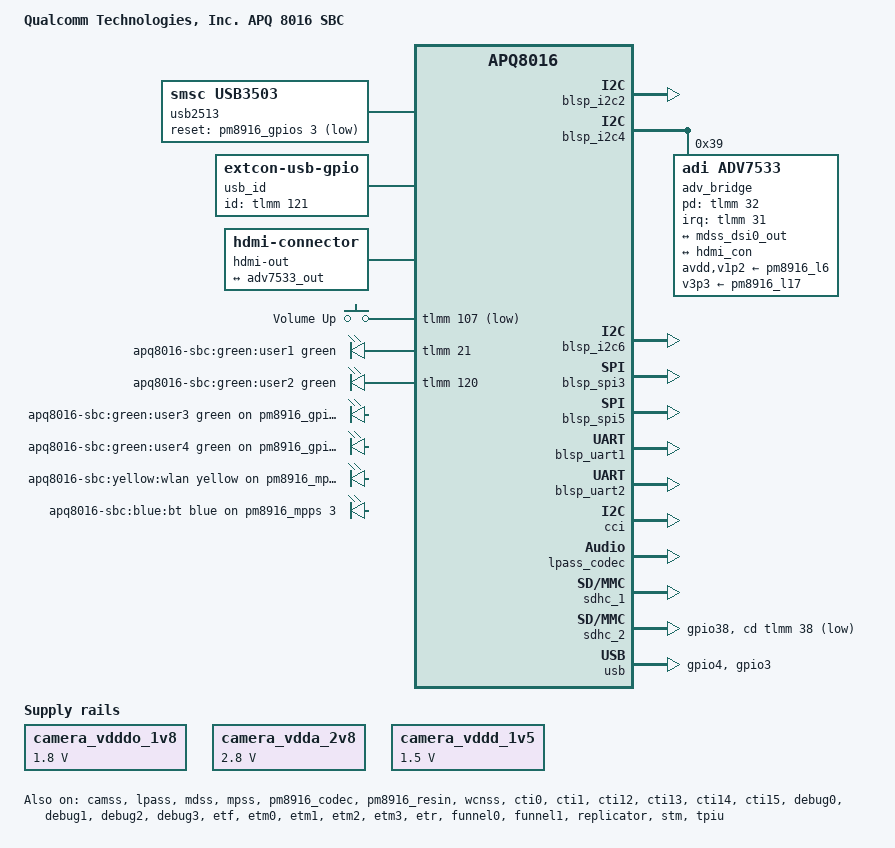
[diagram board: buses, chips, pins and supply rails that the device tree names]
// SPDX-License-Identifier: GPL-2.0-only
/*
 * Copyright (c) 2015, The Linux Foundation. All rights reserved.
 */

/dts-v1/;

#include "msm8916-pm8916.dtsi"
#include <dt-bindings/gpio/gpio.h>
#include <dt-bindings/input/input.h>
#include <dt-bindings/leds/common.h>
#include <dt-bindings/pinctrl/qcom,pmic-gpio.h>
#include <dt-bindings/pinctrl/qcom,pmic-mpp.h>
#include <dt-bindings/sound/apq8016-lpass.h>

/ {
	model = "Qualcomm Technologies, Inc. APQ 8016 SBC";
	compatible = "qcom,apq8016-sbc", "qcom,apq8016";

	aliases {
		mmc0 = &sdhc_1; /* eMMC */
		mmc1 = &sdhc_2; /* SD card */
		serial0 = &blsp_uart2;
		serial1 = &blsp_uart1;
		usid0 = &pm8916_0;
		i2c0 = &blsp_i2c2;
		i2c1 = &blsp_i2c6;
		i2c3 = &blsp_i2c4;
		spi0 = &blsp_spi5;
		spi1 = &blsp_spi3;
	};

	chosen {
		stdout-path = "serial0";
	};

	camera_vdddo_1v8: camera-vdddo-1v8 {
		compatible = "regulator-fixed";
		regulator-name = "camera_vdddo";
		regulator-min-microvolt = <1800000>;
		regulator-max-microvolt = <1800000>;
		regulator-always-on;
	};

	camera_vdda_2v8: camera-vdda-2v8 {
		compatible = "regulator-fixed";
		regulator-name = "camera_vdda";
		regulator-min-microvolt = <2800000>;
		regulator-max-microvolt = <2800000>;
		regulator-always-on;
	};

	camera_vddd_1v5: camera-vddd-1v5 {
		compatible = "regulator-fixed";
		regulator-name = "camera_vddd";
		regulator-min-microvolt = <1500000>;
		regulator-max-microvolt = <1500000>;
		regulator-always-on;
	};

	reserved-memory {
		ramoops@bff00000 {
			compatible = "ramoops";
			reg = <0x0 0xbff00000 0x0 0x100000>;

			record-size = <0x20000>;
			console-size = <0x20000>;
			ftrace-size = <0x20000>;
		};
	};

	usb2513 {
		compatible = "smsc,usb3503";
		reset-gpios = <&pm8916_gpios 3 GPIO_ACTIVE_LOW>;
		initial-mode = <1>;
	};

	usb_id: usb-id {
		compatible = "linux,extcon-usb-gpio";
		id-gpio = <&tlmm 121 GPIO_ACTIVE_HIGH>;
		pinctrl-names = "default";
		pinctrl-0 = <&usb_id_default>;
	};

	hdmi-out {
		compatible = "hdmi-connector";
		type = "a";

		port {
			hdmi_con: endpoint {
				remote-endpoint = <&adv7533_out>;
			};
		};
	};

	gpio-keys {
		compatible = "gpio-keys";
		autorepeat;

		pinctrl-names = "default";
		pinctrl-0 = <&msm_key_volp_n_default>;

		button {
			label = "Volume Up";
			linux,code = <KEY_VOLUMEUP>;
			gpios = <&tlmm 107 GPIO_ACTIVE_LOW>;
		};
	};

	leds {
		pinctrl-names = "default";
		pinctrl-0 = <&tlmm_leds>,
			    <&pm8916_gpios_leds>,
			    <&pm8916_mpps_leds>;

		compatible = "gpio-leds";

		led@1 {
			label = "apq8016-sbc:green:user1";
			function = LED_FUNCTION_HEARTBEAT;
			color = <LED_COLOR_ID_GREEN>;
			gpios = <&tlmm 21 GPIO_ACTIVE_HIGH>;
			linux,default-trigger = "heartbeat";
			default-state = "off";
		};

		led@2 {
			label = "apq8016-sbc:green:user2";
			function = LED_FUNCTION_DISK_ACTIVITY;
			color = <LED_COLOR_ID_GREEN>;
			gpios = <&tlmm 120 GPIO_ACTIVE_HIGH>;
			linux,default-trigger = "mmc0";
			default-state = "off";
		};

		led@3 {
			label = "apq8016-sbc:green:user3";
			function = LED_FUNCTION_DISK_ACTIVITY;
			color = <LED_COLOR_ID_GREEN>;
			gpios = <&pm8916_gpios 1 GPIO_ACTIVE_HIGH>;
			linux,default-trigger = "mmc1";
			default-state = "off";
		};

		led@4 {
			label = "apq8016-sbc:green:user4";
			color = <LED_COLOR_ID_GREEN>;
			gpios = <&pm8916_gpios 2 GPIO_ACTIVE_HIGH>;
			linux,default-trigger = "none";
			panic-indicator;
			default-state = "off";
		};

		led@5 {
			label = "apq8016-sbc:yellow:wlan";
			function = LED_FUNCTION_WLAN;
			color = <LED_COLOR_ID_YELLOW>;
			gpios = <&pm8916_mpps 2 GPIO_ACTIVE_HIGH>;
			linux,default-trigger = "phy0tx";
			default-state = "off";
		};

		led@6 {
			label = "apq8016-sbc:blue:bt";
			function = LED_FUNCTION_BLUETOOTH;
			color = <LED_COLOR_ID_BLUE>;
			gpios = <&pm8916_mpps 3 GPIO_ACTIVE_HIGH>;
			linux,default-trigger = "bluetooth-power";
			default-state = "off";
		};
	};
};

&blsp_i2c2 {
	/* On Low speed expansion: LS-I2C0 */
	status = "okay";
};

&blsp_i2c4 {
	/* On High speed expansion: HS-I2C2 */
	status = "okay";

	adv_bridge: bridge@39 {
		status = "okay";

		compatible = "adi,adv7533";
		reg = <0x39>;

		interrupt-parent = <&tlmm>;
		interrupts = <31 IRQ_TYPE_EDGE_FALLING>;

		adi,dsi-lanes = <4>;
		clocks = <&rpmcc RPM_SMD_BB_CLK2>;
		clock-names = "cec";

		pd-gpios = <&tlmm 32 GPIO_ACTIVE_HIGH>;

		avdd-supply = <&pm8916_l6>;
		v1p2-supply = <&pm8916_l6>;
		v3p3-supply = <&pm8916_l17>;

		pinctrl-names = "default","sleep";
		pinctrl-0 = <&adv7533_int_active &adv7533_switch_active>;
		pinctrl-1 = <&adv7533_int_suspend &adv7533_switch_suspend>;
		#sound-dai-cells = <1>;

		ports {
			#address-cells = <1>;
			#size-cells = <0>;

			port@0 {
				reg = <0>;
				adv7533_in: endpoint {
					remote-endpoint = <&mdss_dsi0_out>;
				};
			};

			port@1 {
				reg = <1>;
				adv7533_out: endpoint {
					remote-endpoint = <&hdmi_con>;
				};
			};
		};
	};
};

&blsp_i2c6 {
	/* On Low speed expansion: LS-I2C1 */
	status = "okay";
};

&blsp_spi3 {
	/* On High speed expansion: HS-SPI1 */
	status = "okay";
};

&blsp_spi5 {
	/* On Low speed expansion: LS-SPI0 */
	status = "okay";
};

&blsp_uart1 {
	status = "okay";
	label = "LS-UART0";
};

&blsp_uart2 {
	status = "okay";
	label = "LS-UART1";
};

&camss {
	status = "okay";
	ports {
		port@0 {
			reg = <0>;
			csiphy0_ep: endpoint {
				data-lanes = <0 2>;
				remote-endpoint = <&ov5640_ep>;
				status = "okay";
			};
		};
	};
};

&cci {
	status = "okay";
};

&cci_i2c0 {
	camera_rear@3b {
		compatible = "ovti,ov5640";
		reg = <0x3b>;

		enable-gpios = <&tlmm 34 GPIO_ACTIVE_HIGH>;
		reset-gpios = <&tlmm 35 GPIO_ACTIVE_LOW>;
		pinctrl-names = "default";
		pinctrl-0 = <&camera_rear_default>;

		clocks = <&gcc GCC_CAMSS_MCLK0_CLK>;
		clock-names = "xclk";
		clock-frequency = <23880000>;

		vdddo-supply = <&camera_vdddo_1v8>;
		vdda-supply = <&camera_vdda_2v8>;
		vddd-supply = <&camera_vddd_1v5>;

		/* No camera mezzanine by default */
		status = "disabled";

		port {
			ov5640_ep: endpoint {
				data-lanes = <0 2>;
				remote-endpoint = <&csiphy0_ep>;
			};
		};
	};
};

&lpass {
	status = "okay";
};

&lpass_codec {
	status = "okay";
};

&mdss {
	status = "okay";
};

&mdss_dsi0_out {
	data-lanes = <0 1 2 3>;
	remote-endpoint = <&adv7533_in>;
};

&mpss {
	status = "okay";

	firmware-name = "qcom/apq8016/mba.mbn", "qcom/apq8016/modem.mbn";
};

&pm8916_codec {
	status = "okay";
	clocks = <&gcc GCC_CODEC_DIGCODEC_CLK>;
	clock-names = "mclk";
	qcom,mbhc-vthreshold-low = <75 150 237 450 500>;
	qcom,mbhc-vthreshold-high = <75 150 237 450 500>;
};

&pm8916_resin {
	status = "okay";
	linux,code = <KEY_VOLUMEDOWN>;
};

&pm8916_rpm_regulators {
	/*
	 * The 96Boards specification expects a 1.8V power rail on the low-speed
	 * expansion connector that is able to provide at least 0.18W / 100 mA.
	 * L15/L16 are connected in parallel to provide 55 mA each. A minimum load
	 * must be specified to ensure the regulators are not put in LPM where they
	 * would only provide 5 mA.
	 */
	pm8916_l15: l15 {
		regulator-min-microvolt = <1800000>;
		regulator-max-microvolt = <1800000>;
		regulator-system-load = <50000>;
		regulator-allow-set-load;
		regulator-always-on;
	};
	pm8916_l16: l16 {
		regulator-min-microvolt = <1800000>;
		regulator-max-microvolt = <1800000>;
		regulator-system-load = <50000>;
		regulator-allow-set-load;
		regulator-always-on;
	};

	pm8916_l17: l17 {
		regulator-min-microvolt = <3300000>;
		regulator-max-microvolt = <3300000>;
	};
};

&sdhc_1 {
	status = "okay";
};

&sdhc_2 {
	status = "okay";

	pinctrl-names = "default", "sleep";
	pinctrl-0 = <&sdc2_default &sdc2_cd_default>;
	pinctrl-1 = <&sdc2_sleep &sdc2_cd_default>;

	cd-gpios = <&tlmm 38 GPIO_ACTIVE_LOW>;
};

&sound {
	status = "okay";

	pinctrl-0 = <&cdc_pdm_default &sec_mi2s_default>;
	pinctrl-1 = <&cdc_pdm_sleep &sec_mi2s_sleep>;
	pinctrl-names = "default", "sleep";
	model = "DB410c";
	audio-routing =
		"AMIC2", "MIC BIAS Internal2",
		"AMIC3", "MIC BIAS External1";

	quaternary-dai-link {
		link-name = "ADV7533";
		cpu {
			sound-dai = <&lpass MI2S_QUATERNARY>;
		};
		codec {
			sound-dai = <&adv_bridge 0>;
		};
	};

	primary-dai-link {
		link-name = "WCD";
		cpu {
			sound-dai = <&lpass MI2S_PRIMARY>;
		};
		codec {
			sound-dai = <&lpass_codec 0>, <&pm8916_codec 0>;
		};
	};

	tertiary-dai-link {
		link-name = "WCD-Capture";
		cpu {
			sound-dai = <&lpass MI2S_TERTIARY>;
		};
		codec {
			sound-dai = <&lpass_codec 1>, <&pm8916_codec 1>;
		};
	};
};

&usb {
	status = "okay";
	extcon = <&usb_id>, <&usb_id>;

	pinctrl-names = "default", "device";
	pinctrl-0 = <&usb_sw_sel_pm &usb_hub_reset_pm>;
	pinctrl-1 = <&usb_sw_sel_pm_device &usb_hub_reset_pm_device>;
};

&usb_hs_phy {
	extcon = <&usb_id>;
};

&wcnss {
	status = "okay";
	firmware-name = "qcom/apq8016/wcnss.mbn";
};

&wcnss_ctrl {
	firmware-name = "qcom/apq8016/WCNSS_qcom_wlan_nv_sbc.bin";
};

&wcnss_iris {
	compatible = "qcom,wcn3620";
};

/* Enable CoreSight */
&cti0 { status = "okay"; };
&cti1 { status = "okay"; };
&cti12 { status = "okay"; };
&cti13 { status = "okay"; };
&cti14 { status = "okay"; };
&cti15 { status = "okay"; };
&debug0 { status = "okay"; };
&debug1 { status = "okay"; };
&debug2 { status = "okay"; };
&debug3 { status = "okay"; };
&etf { status = "okay"; };
&etm0 { status = "okay"; };
&etm1 { status = "okay"; };
&etm2 { status = "okay"; };
&etm3 { status = "okay"; };
&etr { status = "okay"; };
&funnel0 { status = "okay"; };
&funnel1 { status = "okay"; };
&replicator { status = "okay"; };
&stm { status = "okay"; };
&tpiu { status = "okay"; };

/*
 * 2mA drive strength is not enough when connecting multiple
 * I2C devices with different pull up resistors.
 */
&blsp_i2c2_default {
	drive-strength = <16>;
};

&blsp_i2c4_default {
	drive-strength = <16>;
};

&blsp_i2c6_default {
	drive-strength = <16>;
};

/*
 * GPIO name legend: proper name = the GPIO line is used as GPIO
 *         NC = not connected (pin out but not routed from the chip to
 *              anything the board)
 *         "[PER]" = pin is muxed for [peripheral] (not GPIO)
 *         LSEC = Low Speed External Connector
 *         HSEC = High Speed External Connector
 *
 * Line names are taken from the schematic "DragonBoard410c"
 * dated monday, august 31, 2015. Page 5 in particular.
 *
 * For the lines routed to the external connectors the
 * lines are named after the 96Boards CE Specification 1.0,
 * Appendix "Expansion Connector Signal Description".
 *
 * When the 96Board naming of a line and the schematic name of
 * the same line are in conflict, the 96Board specification
 * takes precedence, which means that the external UART on the
 * LSEC is named UART0 while the schematic and SoC names this
 * UART3. This is only for the informational lines i.e. "[FOO]",
 * the GPIO named lines "GPIO-A" thru "GPIO-L" are the only
 * ones actually used for GPIO.
 */

&tlmm {
	gpio-line-names =
		"[UART0_TX]", /* GPIO_0, LSEC pin 5 */
		"[UART0_RX]", /* GPIO_1, LSEC pin 7 */
		"[UART0_CTS_N]", /* GPIO_2, LSEC pin 3 */
		"[UART0_RTS_N]", /* GPIO_3, LSEC pin 9 */
		"[UART1_TX]", /* GPIO_4, LSEC pin 11 */
		"[UART1_RX]", /* GPIO_5, LSEC pin 13 */
		"[I2C0_SDA]", /* GPIO_8, LSEC pin 17 */
		"[I2C0_SCL]", /* GPIO_7, LSEC pin 15 */
		"[SPI1_DOUT]", /* SPI1_MOSI, HSEC pin 1 */
		"[SPI1_DIN]", /* SPI1_MISO, HSEC pin 11 */
		"[SPI1_CS]", /* SPI1_CS_N, HSEC pin 7 */
		"[SPI1_SCLK]", /* SPI1_CLK, HSEC pin 9 */
		"GPIO-B", /* LS_EXP_GPIO_B, LSEC pin 24 */
		"GPIO-C", /* LS_EXP_GPIO_C, LSEC pin 25 */
		"[I2C3_SDA]", /* HSEC pin 38 */
		"[I2C3_SCL]", /* HSEC pin 36 */
		"[SPI0_MOSI]", /* LSEC pin 14 */
		"[SPI0_MISO]", /* LSEC pin 10 */
		"[SPI0_CS_N]", /* LSEC pin 12 */
		"[SPI0_CLK]", /* LSEC pin 8 */
		"HDMI_HPD_N", /* GPIO 20 */
		"USR_LED_1_CTRL",
		"[I2C1_SDA]", /* GPIO_22, LSEC pin 21 */
		"[I2C1_SCL]", /* GPIO_23, LSEC pin 19 */
		"GPIO-G", /* LS_EXP_GPIO_G, LSEC pin 29 */
		"GPIO-H", /* LS_EXP_GPIO_H, LSEC pin 30 */
		"[CSI0_MCLK]", /* HSEC pin 15 */
		"[CSI1_MCLK]", /* HSEC pin 17 */
		"GPIO-K", /* LS_EXP_GPIO_K, LSEC pin 33 */
		"[I2C2_SDA]", /* HSEC pin 34 */
		"[I2C2_SCL]", /* HSEC pin 32 */
		"DSI2HDMI_INT_N",
		"DSI_SW_SEL_APQ",
		"GPIO-L", /* LS_EXP_GPIO_L, LSEC pin 34 */
		"GPIO-J", /* LS_EXP_GPIO_J, LSEC pin 32 */
		"GPIO-I", /* LS_EXP_GPIO_I, LSEC pin 31 */
		"GPIO-A", /* LS_EXP_GPIO_A, LSEC pin 23 */
		"FORCED_USB_BOOT",
		"SD_CARD_DET_N",
		"[WCSS_BT_SSBI]",
		"[WCSS_WLAN_DATA_2]", /* GPIO 40 */
		"[WCSS_WLAN_DATA_1]",
		"[WCSS_WLAN_DATA_0]",
		"[WCSS_WLAN_SET]",
		"[WCSS_WLAN_CLK]",
		"[WCSS_FM_SSBI]",
		"[WCSS_FM_SDI]",
		"[WCSS_BT_DAT_CTL]",
		"[WCSS_BT_DAT_STB]",
		"NC",
		"NC", /* GPIO 50 */
		"NC",
		"NC",
		"NC",
		"NC",
		"NC",
		"NC",
		"NC",
		"NC",
		"NC",
		"NC", /* GPIO 60 */
		"NC",
		"NC",
		"[CDC_PDM0_CLK]",
		"[CDC_PDM0_SYNC]",
		"[CDC_PDM0_TX0]",
		"[CDC_PDM0_RX0]",
		"[CDC_PDM0_RX1]",
		"[CDC_PDM0_RX2]",
		"GPIO-D", /* LS_EXP_GPIO_D, LSEC pin 26 */
		"NC", /* GPIO 70 */
		"NC",
		"NC",
		"NC",
		"NC", /* GPIO 74 */
		"NC",
		"NC",
		"NC",
		"NC",
		"NC",
		"BOOT_CONFIG_0", /* GPIO 80 */
		"BOOT_CONFIG_1",
		"BOOT_CONFIG_2",
		"BOOT_CONFIG_3",
		"NC",
		"NC",
		"BOOT_CONFIG_5",
		"NC",
		"NC",
		"NC",
		"NC", /* GPIO 90 */
		"NC",
		"NC",
		"NC",
		"NC",
		"NC",
		"NC",
		"NC",
		"NC",
		"NC",
		"NC", /* GPIO 100 */
		"NC",
		"NC",
		"NC",
		"SSBI_GPS",
		"NC",
		"NC",
		"KEY_VOLP_N",
		"NC",
		"NC",
		"[LS_EXP_MI2S_WS]", /* GPIO 110 */
		"NC",
		"NC",
		"[LS_EXP_MI2S_SCK]",
		"[LS_EXP_MI2S_DATA0]",
		"GPIO-E", /* LS_EXP_GPIO_E, LSEC pin 27 */
		"NC",
		"[DSI2HDMI_MI2S_WS]",
		"[DSI2HDMI_MI2S_SCK]",
		"[DSI2HDMI_MI2S_DATA0]",
		"USR_LED_2_CTRL", /* GPIO 120 */
		"SB_HS_ID";

	sdc2_cd_default: sdc2-cd-default-state {
		pins = "gpio38";
		function = "gpio";
		drive-strength = <2>;
		bias-disable;
	};

	tlmm_leds: tlmm-leds-state {
		pins = "gpio21", "gpio120";
		function = "gpio";

		output-low;
	};

	usb_id_default: usb-id-default-state {
		pins = "gpio121";
		function = "gpio";

		drive-strength = <8>;
		bias-pull-up;
	};

	adv7533_int_active: adv533-int-active-state {
		pins = "gpio31";
		function = "gpio";

		drive-strength = <16>;
		bias-disable;
	};

	adv7533_int_suspend: adv7533-int-suspend-state {
		pins = "gpio31";
		function = "gpio";

		drive-strength = <2>;
		bias-disable;
	};

	adv7533_switch_active: adv7533-switch-active-state {
		pins = "gpio32";
		function = "gpio";

		drive-strength = <16>;
		bias-disable;
	};

	adv7533_switch_suspend: adv7533-switch-suspend-state {
		pins = "gpio32";
		function = "gpio";

		drive-strength = <2>;
		bias-disable;
	};

	msm_key_volp_n_default: msm-key-volp-n-default-state {
		pins = "gpio107";
		function = "gpio";

		drive-strength = <8>;
		bias-pull-up;
	};
};

&pm8916_gpios {
	gpio-line-names =
		"USR_LED_3_CTRL",
		"USR_LED_4_CTRL",
		"USB_HUB_RESET_N_PM",
		"USB_SW_SEL_PM";

	usb_hub_reset_pm: usb-hub-reset-pm-state {
		pins = "gpio3";
		function = PMIC_GPIO_FUNC_NORMAL;

		input-disable;
		output-high;
	};

	usb_hub_reset_pm_device: usb-hub-reset-pm-device-state {
		pins = "gpio3";
		function = PMIC_GPIO_FUNC_NORMAL;

		output-low;
	};

	usb_sw_sel_pm: usb-sw-sel-pm-state {
		pins = "gpio4";
		function = PMIC_GPIO_FUNC_NORMAL;

		power-source = <PM8916_GPIO_VPH>;
		input-disable;
		output-high;
	};

	usb_sw_sel_pm_device: usb-sw-sel-pm-device-state {
		pins = "gpio4";
		function = PMIC_GPIO_FUNC_NORMAL;

		power-source = <PM8916_GPIO_VPH>;
		input-disable;
		output-low;
	};

	pm8916_gpios_leds: pm8916-gpios-leds-state {
		pins = "gpio1", "gpio2";
		function = PMIC_GPIO_FUNC_NORMAL;

		output-low;
	};
};

&pm8916_mpps {
	gpio-line-names =
		"VDD_PX_BIAS",
		"WLAN_LED_CTRL",
		"BT_LED_CTRL",
		"GPIO-F"; /* LS_EXP_GPIO_F, LSEC pin 28 */

	pinctrl-names = "default";
	pinctrl-0 = <&ls_exp_gpio_f>;

	ls_exp_gpio_f: pm8916-mpp4-state {
		pins = "mpp4";
		function = "digital";

		output-low;
		power-source = <PM8916_MPP_L5>;	/* 1.8V */
	};

	pm8916_mpps_leds: pm8916-mpps-state {
		pins = "mpp2", "mpp3";
		function = "digital";

		output-low;
	};
};
